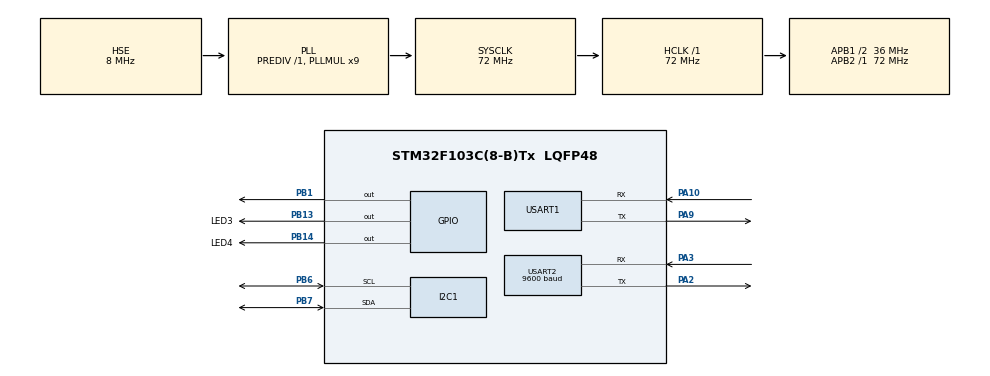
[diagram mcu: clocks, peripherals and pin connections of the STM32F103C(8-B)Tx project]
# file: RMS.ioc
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FREERTOS.Queues01=myQueue01,16,uint16_t,0,Dynamic,NULL,NULL
FREERTOS.Tasks01=defaultTask,2,256,StartDefaultTask,Default,NULL,Dynamic,NULL,NULL;myTask02,0,256,StartTask02,Default,NULL,Dynamic,NULL,NULL;myTask03,-1,256,StartTask03,Default,NULL,Dynamic,NULL,NULL;myTask04,-2,256,StartTask04,Default,NULL,Dynamic,NULL,NULL
FREERTOS.configTOTAL_HEAP_SIZE=10240
FREERTOS.configUSE_NEWLIB_REENTRANT=1
Mcu.Family=STM32F1
Mcu.Name=STM32F103C(8-B)Tx
Mcu.Package=LQFP48
NVIC.PriorityGroup=NVIC_PRIORITYGROUP_4
NVIC.USART1_IRQn=true\:5\:0\:false\:false\:true\:true\:true\:true\:true
PA10.Mode=Asynchronous
PA10.Signal=USART1_RX
PA13.Mode=Serial_Wire
PA13.Signal=SYS_JTMS-SWDIO
PA14.Mode=Serial_Wire
PA14.Signal=SYS_JTCK-SWCLK
PA2.Mode=Asynchronous
PA2.Signal=USART2_TX
PA3.Mode=Asynchronous
PA3.Signal=USART2_RX
PA9.Mode=Asynchronous
PA9.Signal=USART1_TX
PB1.Signal=GPIO_Output
PB13.GPIO_Label=LED3
PB13.Signal=GPIO_Output
PB14.GPIO_Label=LED4
PB14.Signal=GPIO_Output
PB6.Mode=I2C
PB6.Signal=I2C1_SCL
PB7.Mode=I2C
PB7.Signal=I2C1_SDA
PD0-OSC_IN.Mode=HSE-External-Oscillator
PD0-OSC_IN.Signal=RCC_OSC_IN
PD1-OSC_OUT.Mode=HSE-External-Oscillator
PD1-OSC_OUT.Signal=RCC_OSC_OUT
ProjectManager.HeapSize=0x200
ProjectManager.StackSize=0x400
ProjectManager.TargetToolchain=STM32CubeIDE
RCC.AHBFreq_Value=72000000
RCC.APB1CLKDivider=RCC_HCLK_DIV2
RCC.APB1Freq_Value=36000000
RCC.APB1TimFreq_Value=72000000
RCC.APB2Freq_Value=72000000
RCC.APB2TimFreq_Value=72000000
RCC.HCLKFreq_Value=72000000
RCC.PLLMUL=RCC_PLL_MUL9
RCC.PLLSourceVirtual=RCC_PLLSOURCE_HSE
RCC.SYSCLKFreq_VALUE=72000000
RCC.SYSCLKSource=RCC_SYSCLKSOURCE_PLLCLK
RCC.USBFreq_Value=72000000
USART1.VirtualMode=VM_ASYNC
USART2.BaudRate=9600
USART2.VirtualMode=VM_ASYNC
VP_FREERTOS_VS_CMSIS_V1.Mode=CMSIS_V1
board=custom

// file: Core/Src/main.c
/* USER CODE BEGIN Header */
/**
  ******************************************************************************
  * @file           : main.c
  * @brief          : Main program body
  ******************************************************************************
  * @attention
  *
  * Copyright (c) 2025 STMicroelectronics.
  * All rights reserved.
  *
  * This software is licensed under terms that can be found in the LICENSE file
  * in the root directory of this software component.
  * If no LICENSE file comes with this software, it is provided AS-IS.
  *
  ******************************************************************************
  */
/* USER CODE END Header */
#include "main.h"
#include "cmsis_os.h"

/* USER CODE BEGIN Includes */
#include "DHT.h"
#include "stdio.h"
#include "lcd_i2c.h"
#include "string.h"

/* USER CODE END Includes */

I2C_HandleTypeDef hi2c1;

UART_HandleTypeDef huart1;
UART_HandleTypeDef huart2;

osThreadId defaultTaskHandle;
osThreadId myTask02Handle;
osThreadId myTask03Handle;
osThreadId myTask04Handle;
osMessageQId myQueue01Handle;
/* USER CODE BEGIN PV */
DHT_DataTypedef dht;
float temp = 0;
float humid = 0;
uint8_t time = 0;
char ctrl[100];
char rx_byte;
uint8_t rx_buffer[20];
uint8_t exitLoop = 0; // Biến trạng thái để thoát kh�?i vòng lặp
uint16_t indx = 0;

/* USER CODE END PV */

void SystemClock_Config(void);
static void MX_GPIO_Init(void);
static void MX_USART1_UART_Init(void);
static void MX_I2C1_Init(void);
static void MX_USART2_UART_Init(void);
void StartDefaultTask(void const * argument);
void StartTask02(void const * argument);
void StartTask03(void const * argument);
void StartTask04(void const * argument);

/* USER CODE BEGIN 0 */
void task1()
{
	DHT_GetData (&dht);
	temp = dht.Temperature;
	humid = dht.Humidity;
}

void task2()
{
	char message[300];
	uint8_t length = snprintf(message, sizeof(message), " Nhiet do: %.2f, Do am: %.2f \r\n", temp, humid);
	if (length < sizeof(message)) HAL_UART_Transmit(&huart1, (uint8_t*) message, length, 100);

}
void task3()
{
	lcd_put_cur(0, 0);
	char message[50];
	snprintf(message, sizeof(message), "T:%.2f H:%.2f", temp, humid);
	lcd_send_string (message);  	// send string to the lcd

//	HAL_GPIO_TogglePin(LED3_GPIO_Port, LED3_Pin);
//	HAL_Delay(11);

}
void task4()
{
	char message[300];
	uint8_t length = snprintf(message, sizeof(message), "Nhiet do: %.2f, Do am: %.2f \r\n", temp, humid);
	if (length < sizeof(message)) HAL_UART_Transmit(&huart2, (uint8_t*) message, length, 100);
//	HAL_GPIO_TogglePin(LED4_GPIO_Port, LED4_Pin);
//	HAL_Delay(52);
}

void HAL_UART_RxCpltCallback(UART_HandleTypeDef *huart)
{
	if (huart->Instance == USART1)
	{
		printf("Hello");
		if (strncmp((char *)ctrl, "O",(size_t) 1) == 0) // so sánh với "OFF"
		        {
		            // Nếu nhận là "OFF", treo mã
		            while (1)
		            {
//		            	HAL_UART_Transmit(&huart1,(uint8_t*) "hello", 5, HAL_MAX_DELAY);
		                memset(ctrl, 0, sizeof(ctrl)); // �?ặt lại buffer
//		                char message[300];
//		                uint8_t	length = snprintf(message, sizeof(message), " Recive:'%s' \r\n", ctrl);
//		                if (length < sizeof(message)) HAL_UART_Transmit(&huart1, (uint8_t*) message, length, 100);
		                HAL_UART_Receive(&huart1,(uint8_t*) ctrl, 2, HAL_MAX_DELAY);
		                if (strncmp((char *)ctrl, "ON",(size_t) 2) == 0) // so sánh với "ON"
		                {
		                    exitLoop = 1; // Cập nhật trạng thái để thoát vòng lặp
		                }
		                // Nếu cần thoát ra ngoài hàm
		                if (exitLoop) {
		                	exitLoop = 0;
		                	break;
		                }
		            }
		        }
//		if (strncmp((char *)ctrl, "ON",(size_t) 2) == 0) // so sánh với "ON"
//				{
//				HAL_UART_Transmit(&huart1,(uint8_t*) "hello", 5, HAL_MAX_DELAY);
//				}
		HAL_UART_Transmit(&huart1, (uint8_t*) ctrl, 1, 1000);
		HAL_UART_Receive_IT(&huart1,(uint8_t*) ctrl, 1);

	}
}

//void HAL_UART_RxCpltCallback(UART_HandleTypeDef *huart) {
//    if (huart->Instance == USART1) {  // Thay USART1 bằng UART của bạn
//
//        if (rx_byte == '\n') {       // Kiểm tra ký tự LF
//            rx_buffer[indx] = '\0'; // Kết thúc chuỗi
//            //rx_index = 0;            // Reset index
//			//osMessageQueuePut(myQueue04Handle, &rx_buffer, 0U, 0U);
//        }
//         else {
//            if (indx < 20 - 1) {
//                rx_buffer[indx++] = rx_byte; // Lưu byte vào buffer
//            }
//        }
//        // Nhận tiếp byte mới
//        HAL_UART_Receive_IT(&huart1, &rx_byte, 1);
//    }
//}

/* USER CODE END 0 */

int main(void)
{

  /* MCU Configuration--------------------------------------------------------*/

  /* Reset of all peripherals, Initializes the Flash interface and the Systick. */
  HAL_Init();

  /* Configure the system clock */
  SystemClock_Config();

  /* Initialize all configured peripherals */
  MX_GPIO_Init();
  MX_USART1_UART_Init();
  MX_I2C1_Init();
  MX_USART2_UART_Init();
  /* USER CODE BEGIN 2 */
  lcd_init();   // initialize lcd
  HAL_UART_Receive_IT(&huart1,(uint8_t*) ctrl, 1);
//  HAL_UART_Receive_IT(&huart1, &rx_byte, 1);

//  HAL_UART_Receive_IT(&huart1,(uint8_t*) ctrl, 1);

  /* USER CODE END 2 */

  /* Create the queue(s) */
  /* definition and creation of myQueue01 */
  osMessageQDef(myQueue01, 16, uint16_t);
  myQueue01Handle = osMessageCreate(osMessageQ(myQueue01), NULL);

  /* Create the thread(s) */
  /* definition and creation of defaultTask */
  osThreadDef(defaultTask, StartDefaultTask, osPriorityHigh, 0, 256);
  defaultTaskHandle = osThreadCreate(osThread(defaultTask), NULL);

  /* definition and creation of myTask02 */
  osThreadDef(myTask02, StartTask02, osPriorityNormal, 0, 256);
  myTask02Handle = osThreadCreate(osThread(myTask02), NULL);

  /* definition and creation of myTask03 */
  osThreadDef(myTask03, StartTask03, osPriorityBelowNormal, 0, 256);
  myTask03Handle = osThreadCreate(osThread(myTask03), NULL);

  /* definition and creation of myTask04 */
  osThreadDef(myTask04, StartTask04, osPriorityLow, 0, 256);
  myTask04Handle = osThreadCreate(osThread(myTask04), NULL);

  /* Start scheduler */
  osKernelStart();

  /* We should never get here as control is now taken by the scheduler */
  /* Infinite loop */
  while (1)
  {

  }
}

void SystemClock_Config(void)
{
  RCC_OscInitTypeDef RCC_OscInitStruct = {0};
  RCC_ClkInitTypeDef RCC_ClkInitStruct = {0};

  /** Initializes the RCC Oscillators according to the specified parameters
  * in the RCC_OscInitTypeDef structure.
  */
  RCC_OscInitStruct.OscillatorType = RCC_OSCILLATORTYPE_HSE;
  RCC_OscInitStruct.HSEState = RCC_HSE_ON;
  RCC_OscInitStruct.HSEPredivValue = RCC_HSE_PREDIV_DIV1;
  RCC_OscInitStruct.HSIState = RCC_HSI_ON;
  RCC_OscInitStruct.PLL.PLLState = RCC_PLL_ON;
  RCC_OscInitStruct.PLL.PLLSource = RCC_PLLSOURCE_HSE;
  RCC_OscInitStruct.PLL.PLLMUL = RCC_PLL_MUL9;
  if (HAL_RCC_OscConfig(&RCC_OscInitStruct) != HAL_OK)
  {
    Error_Handler();
  }

  /** Initializes the CPU, AHB and APB buses clocks
  */
  RCC_ClkInitStruct.ClockType = RCC_CLOCKTYPE_HCLK|RCC_CLOCKTYPE_SYSCLK
                              |RCC_CLOCKTYPE_PCLK1|RCC_CLOCKTYPE_PCLK2;
  RCC_ClkInitStruct.SYSCLKSource = RCC_SYSCLKSOURCE_PLLCLK;
  RCC_ClkInitStruct.AHBCLKDivider = RCC_SYSCLK_DIV1;
  RCC_ClkInitStruct.APB1CLKDivider = RCC_HCLK_DIV2;
  RCC_ClkInitStruct.APB2CLKDivider = RCC_HCLK_DIV1;

  if (HAL_RCC_ClockConfig(&RCC_ClkInitStruct, FLASH_LATENCY_2) != HAL_OK)
  {
    Error_Handler();
  }
}

static void MX_I2C1_Init(void)
{

  hi2c1.Instance = I2C1;
  hi2c1.Init.ClockSpeed = 100000;
  hi2c1.Init.DutyCycle = I2C_DUTYCYCLE_2;
  hi2c1.Init.OwnAddress1 = 0;
  hi2c1.Init.AddressingMode = I2C_ADDRESSINGMODE_7BIT;
  hi2c1.Init.DualAddressMode = I2C_DUALADDRESS_DISABLE;
  hi2c1.Init.OwnAddress2 = 0;
  hi2c1.Init.GeneralCallMode = I2C_GENERALCALL_DISABLE;
  hi2c1.Init.NoStretchMode = I2C_NOSTRETCH_DISABLE;
  if (HAL_I2C_Init(&hi2c1) != HAL_OK)
  {
    Error_Handler();
  }

}

static void MX_USART1_UART_Init(void)
{

  huart1.Instance = USART1;
  huart1.Init.BaudRate = 115200;
  huart1.Init.WordLength = UART_WORDLENGTH_8B;
  huart1.Init.StopBits = UART_STOPBITS_1;
  huart1.Init.Parity = UART_PARITY_NONE;
  huart1.Init.Mode = UART_MODE_TX_RX;
  huart1.Init.HwFlowCtl = UART_HWCONTROL_NONE;
  huart1.Init.OverSampling = UART_OVERSAMPLING_16;
  if (HAL_UART_Init(&huart1) != HAL_OK)
  {
    Error_Handler();
  }

}

static void MX_USART2_UART_Init(void)
{

  huart2.Instance = USART2;
  huart2.Init.BaudRate = 9600;
  huart2.Init.WordLength = UART_WORDLENGTH_8B;
  huart2.Init.StopBits = UART_STOPBITS_1;
  huart2.Init.Parity = UART_PARITY_NONE;
  huart2.Init.Mode = UART_MODE_TX_RX;
  huart2.Init.HwFlowCtl = UART_HWCONTROL_NONE;
  huart2.Init.OverSampling = UART_OVERSAMPLING_16;
  if (HAL_UART_Init(&huart2) != HAL_OK)
  {
    Error_Handler();
  }

}

static void MX_GPIO_Init(void)
{
  GPIO_InitTypeDef GPIO_InitStruct = {0};

  /* GPIO Ports Clock Enable */
  __HAL_RCC_GPIOD_CLK_ENABLE();
  __HAL_RCC_GPIOA_CLK_ENABLE();
  __HAL_RCC_GPIOB_CLK_ENABLE();

  /*Configure GPIO pin Output Level */
  HAL_GPIO_WritePin(GPIOB, GPIO_PIN_1|LED3_Pin|LED4_Pin, GPIO_PIN_RESET);

  /*Configure GPIO pins : PB1 LED3_Pin LED4_Pin */
  GPIO_InitStruct.Pin = GPIO_PIN_1|LED3_Pin|LED4_Pin;
  GPIO_InitStruct.Mode = GPIO_MODE_OUTPUT_PP;
  GPIO_InitStruct.Pull = GPIO_NOPULL;
  GPIO_InitStruct.Speed = GPIO_SPEED_FREQ_LOW;
  HAL_GPIO_Init(GPIOB, &GPIO_InitStruct);

}

void StartDefaultTask(void const * argument)
{
  /* USER CODE BEGIN 5 */
  /* Infinite loop */
  for(;;)
  {
    task1();
    osDelay(3000);
  }
  /* USER CODE END 5 */
}

void StartTask02(void const * argument)
{
  /* USER CODE BEGIN StartTask02 */
  /* Infinite loop */
  for(;;)
  {
	task2();
    osDelay(3000);
  }
  /* USER CODE END StartTask02 */
}

void StartTask03(void const * argument)
{
  /* USER CODE BEGIN StartTask03 */
  /* Infinite loop */
  for(;;)
  {
	//taskENTER_CRITICAL();
	task3();
    osDelay(6000);
//    osDelayUntil(PreviousWakeTime, millisec)
    //taskEXIT_CRITICAL();
  }
  /* USER CODE END StartTask03 */
}

void StartTask04(void const * argument)
{
  /* USER CODE BEGIN StartTask04 */
  /* Infinite loop */
  for(;;)
  {
	task4();
    osDelay(6000);
  }
  /* USER CODE END StartTask04 */
}

void Error_Handler(void)
{
  __disable_irq();
  while (1)
  {
  }
}
